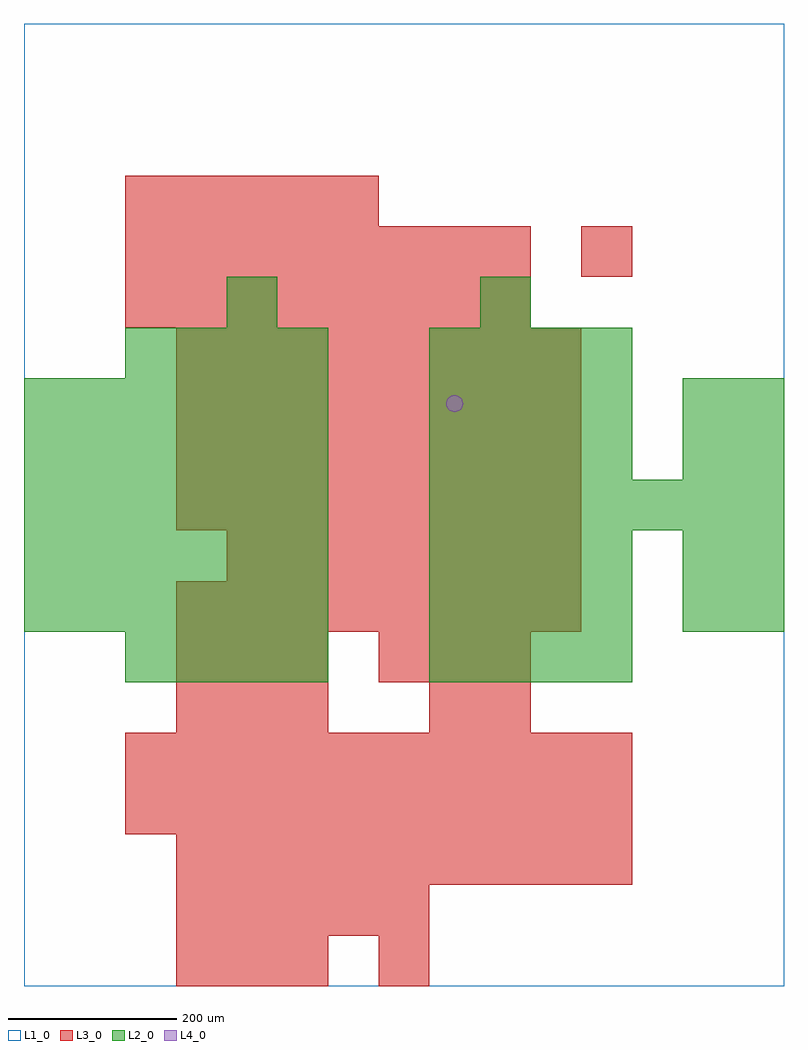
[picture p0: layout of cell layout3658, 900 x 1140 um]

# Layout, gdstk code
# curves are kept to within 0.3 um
import gdstk
lib = gdstk.Library(unit=1e-6, precision=1e-09)
def R(c, l, rs):  # rectangles x0, y0, x1, y1
    for r in rs: c.add(gdstk.rectangle(r[:2], r[2:], *l))
def A(c, l, x, y, w, h, nx, ny, dx, dy):  # array of equal rectangles
    R(c, l, [(x+i*dx, y+j*dy, x+i*dx+w, y+j*dy+h) for i in range(nx) for j in range(ny)])
def P(c, l, *ps):  # polygons
    for p in ps: c.add(gdstk.Polygon(p, *l))
L1_0 = (1, 0)
L2_0 = (2, 0)
L3_0 = (3, 0)
L4_0 = (4, 0)

layout3658 = lib.new_cell('layout3658')
R(layout3658, L1_0, [(0,0,900,1140)])
A(layout3658, L2_0, 120, 360, 60, 60, 4, 2, 60, 360)
A(layout3658, L2_0, 480, 360, 60, 60, 4, 3, 60, 60)
A(layout3658, L2_0, 0, 420, 60, 60, 6, 5, 60, 60)
A(layout3658, L2_0, 480, 540, 60, 60, 7, 1, 60, 0)
A(layout3658, L2_0, 480, 600, 60, 60, 4, 3, 60, 60)
R(layout3658, L2_0, [(780,420,840,480), (840,420,900,480), (780,480,840,540), (840,480,900,540), (780,600,840,660), (840,600,900,660), (780,660,840,720), (840,660,900,720), (240,780,300,840), (540,780,600,840)])
A(layout3658, L3_0, 180, 0, 60, 60, 3, 2, 60, 300)
A(layout3658, L3_0, 180, 60, 60, 60, 5, 1, 60, 0)
A(layout3658, L3_0, 180, 120, 60, 60, 9, 1, 60, 0)
A(layout3658, L3_0, 120, 180, 60, 60, 10, 2, 60, 60)
A(layout3658, L3_0, 180, 360, 60, 60, 3, 1, 60, 0)
A(layout3658, L3_0, 420, 360, 60, 60, 3, 1, 60, 0)
A(layout3658, L3_0, 180, 420, 60, 60, 8, 2, 60, 120)
A(layout3658, L3_0, 240, 480, 60, 60, 7, 1, 60, 0)
A(layout3658, L3_0, 180, 600, 60, 60, 8, 3, 60, 60)
A(layout3658, L3_0, 120, 780, 60, 60, 8, 2, 60, 60)
A(layout3658, L3_0, 120, 900, 60, 60, 5, 1, 60, 0)
R(layout3658, L3_0, [(420,0,480,60), (480,300,540,360), (540,300,600,360), (660,840,720,900)])
P(layout3658, L4_0, [(520,690),(519.239,693.827),(517.071,697.071),(513.827,699.239),(510,700),(506.173,699.239),(502.929,697.071),(500.761,693.827),(500,690),(500.761,686.173),(502.929,682.929),(506.173,680.761),(510,680),(513.827,680.761),(517.071,682.929),(519.239,686.173)])

lib.write_gds('layout3658.gds')
